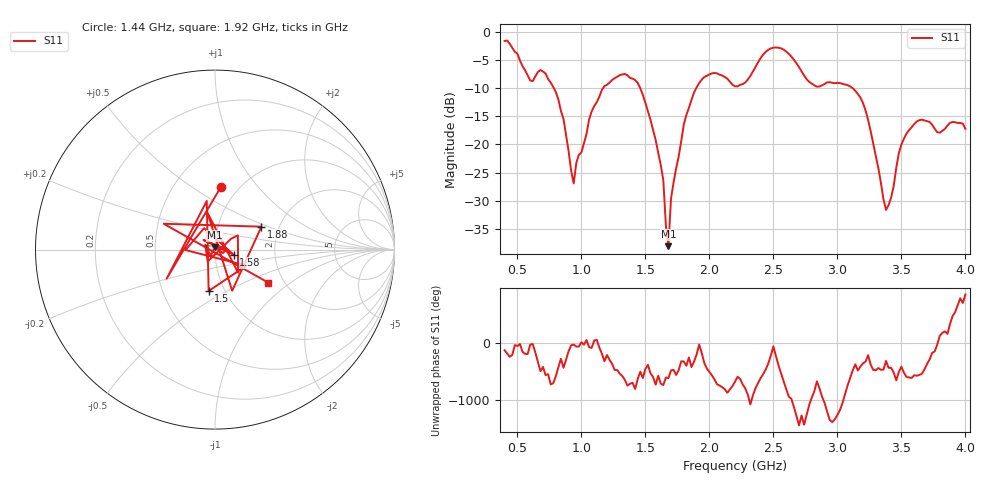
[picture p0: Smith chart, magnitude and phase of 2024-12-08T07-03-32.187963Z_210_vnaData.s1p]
!Created with skrf (http://scikit-rf.org).
# Hz S RI R 50.0
!freq ReS11 ImS11
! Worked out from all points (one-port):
!   181 points, 400 MHz to 4 GHz, reference 50 ohm
!   lowest |S11| = -38.1 dB at 1.68 GHz (marker M1), VSWR 1.03, Z = 49.8 + j1.23 ohm
!   |S11| at or under -10 dB: 784.2 MHz to 1.17 GHz (385.8 MHz wide, 39.5 % of centre); 1.459 GHz to 1.898 GHz (438.7 MHz wide, 26.1 % of centre); 3.118 GHz to end of sweep
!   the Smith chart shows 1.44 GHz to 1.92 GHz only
!   S11 on the Smith chart (normalised r, x): 1.44 GHz: 0.83, +0.66; 1.5 GHz: 0.84, -0.41; 1.58 GHz: 1.23, -0.07; 1.88 GHz: 1.62, +0.45; 1.92 GHz: 1.66, -0.70
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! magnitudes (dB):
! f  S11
! 400 MHz  -1.7
! 600 MHz  -8.7
! 720 MHz  -7.4
! 860 MHz  -15.5
! 940 MHz  -26.9
! 1.08 GHz  -14.2
! 1.3 GHz  -7.7
! 1.44 GHz  -9.1
! 1.5 GHz  -12.6
! 1.58 GHz  -19.2
! 1.64 GHz  -26.4
! 1.66 GHz  -34.4
! 1.68 GHz  -38.1
! 1.7 GHz  -29.7
! 1.76 GHz  -22.2
! 1.88 GHz  -10.8
! 1.92 GHz  -9.1
! 2.04 GHz  -7.3
! 2.2 GHz  -9.7
! 2.48 GHz  -3.0
! 2.66 GHz  -5.0
! 2.84 GHz  -9.8
! 3.1 GHz  -9.7
! 3.22 GHz  -14.0
! 3.38 GHz  -31.6
! 3.48 GHz  -21.6
! 3.56 GHz  -17.5
! 4 GHz  -17.2
